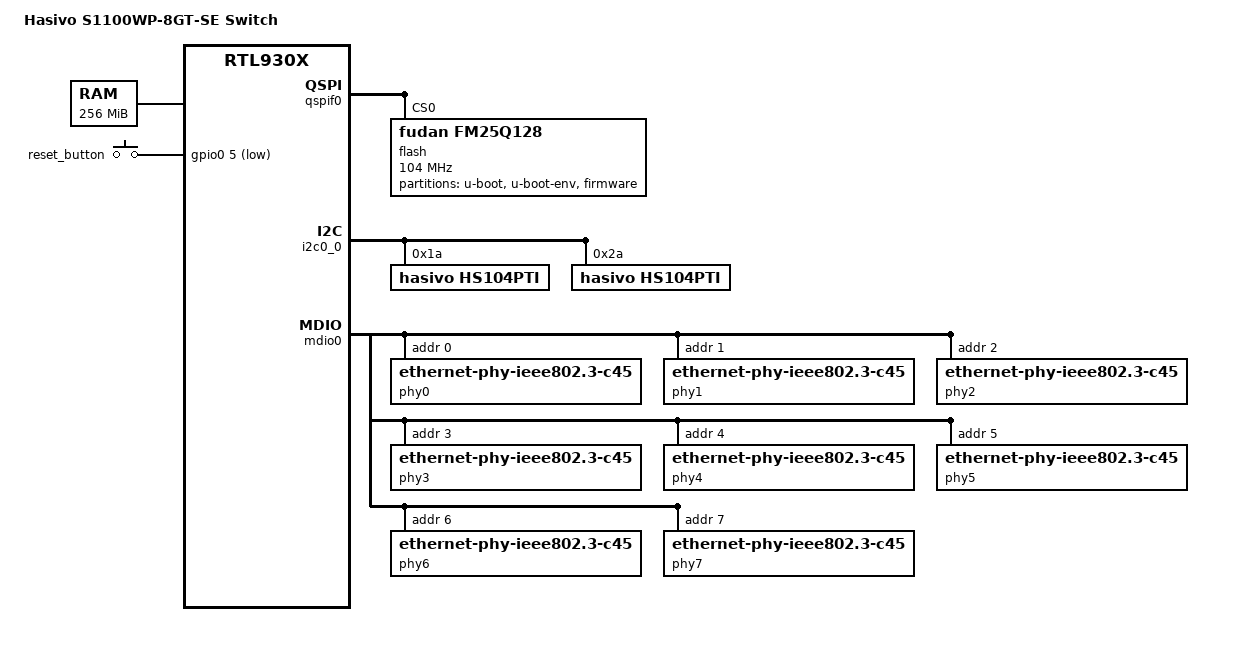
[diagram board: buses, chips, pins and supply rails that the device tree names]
// SPDX-License-Identifier: (GPL-2.0-or-later OR MIT)
/dts-v1/;

#include <dt-bindings/gpio/gpio.h>
#include <dt-bindings/input/input.h>
#include <dt-bindings/leds/common.h>
#include <dt-bindings/leds/leds-realtek.h>

#include "rtl9303.dtsi"

/ {
	compatible = "hasivo,s110pwp-8gt-se", "realtek,rtl9303-soc", "realtek,rtl930x-soc";
	model = "Hasivo S1100WP-8GT-SE Switch";

	led_set {
		compatible = "realtek,rtl9302-leds", "realtek,rtl9300-leds";
		led_set0 = /bits/ 16 <
			/* LED0 */
			(
				RTL93XX_LED_SET_LINK_ACTIVITY |
				RTL93XX_LED_SET_LINK_UP_SOLID |
				RTL93XX_LED_SET_10G_LINK
			)
			/* LED1 */
			(
				RTL93XX_LED_SET_LINK_ACTIVITY |
				RTL93XX_LED_SET_LINK_UP_SOLID |
				RTL93XX_LED_SET_2G5_LINK
			)
			/* LED2 */
			(
				RTL93XX_LED_SET_LINK_ACTIVITY |
				RTL93XX_LED_SET_LINK_UP_SOLID |
				RTL93XX_LED_SET_1000M_LINK |
				RTL93XX_LED_SET_100M_LINK |
				RTL93XX_LED_SET_10M_LINK
			)
		>;
	};

	memory@0 {
		reg = <0x0 0x10000000>; /* 256 MiB */
		device_type = "memory";
	};
};

&qspif0 {
	status = "okay";
	flash: fm25q128@0 {
		compatible = "fudan,fm25q128", "jedec,spi-nor";
		reg = <0>;
		spi-max-frequency = <104000000>;

		partitions: partitions {
			compatible = "fixed-partitions";
			#address-cells = <1>;
			#size-cells = <1>;

			partition@0 {
				reg = <0x0 0xe0000>;
				label = "u-boot";
				read-only;
			};

			partition@e0000 {
				reg = <0xe0000 0x10000>;
				label = "u-boot-env";
			};

			partition@f0000 {
				compatible = "openwrt,uimage", "denx,uimage";
				label = "firmware";
				reg = <0xf0000 0xf10000>;
				openwrt,ih-magic = <0x93030000>;
			};
		};
	};
};

&reset_button {
	gpios = <&gpio0 5 GPIO_ACTIVE_LOW>;

	status = "okay";
};

/*
&spi0 {
	gpioexp: 74hc595@0 {
		compatible = "fairchild,74hc595";
		reg = <0>;
		registers-number = <3>;
		spi-max-frequency = <100000>;
		enable-gpios = <&gpio 10/14 GPIO_ACTIVE_HIGH>;

		gpio-controller;
		#gpio-cells = <2>;
	};
};
*/

&i2c0_0 {
		/* POE controller Port1 - Port4 */
		hs104pti@1a {
			compatible = "hasivo,hs104pti";
			reg = <0x1a>;
		};

		/* POE controller Port5 - Port8 */
		hs104pti@2a {
			compatible = "hasivo,hs104pti";
			reg = <0x2a>;
		};
};

&mdio0 {
	/* 8x RTL8221B PHYs */
	phy0: ethernet-phy@0 {
		reg = <0>;
		compatible = "ethernet-phy-ieee802.3-c45";
		rtl9300,smi-address = <0 0>;
		sds = <2>;
	};

	phy1: ethernet-phy@1 {
		reg = <1>;
		compatible = "ethernet-phy-ieee802.3-c45";
		rtl9300,smi-address = <0 1>;
		sds = <3>;
	};

	phy2: ethernet-phy@2 {
		reg = <2>;
		compatible = "ethernet-phy-ieee802.3-c45";
		rtl9300,smi-address = <0 2>;
		sds = <4>;
	};

	phy3: ethernet-phy@3 {
		reg = <3>;
		compatible = "ethernet-phy-ieee802.3-c45";
		rtl9300,smi-address = <0 3>;
		sds = <5>;
	};

	phy4: ethernet-phy@4 {
		reg = <4>;
		compatible = "ethernet-phy-ieee802.3-c45";
		rtl9300,smi-address = <1 0>;
		sds = <6>;
	};

	phy5: ethernet-phy@5 {
		reg = <5>;
		compatible = "ethernet-phy-ieee802.3-c45";
		rtl9300,smi-address = <1 1>;
		sds = <7>;
	};

	phy6: ethernet-phy@6 {
		reg = <6>;
		compatible = "ethernet-phy-ieee802.3-c45";
		rtl9300,smi-address = <1 2>;
		sds = <8>;
	};

	phy7: ethernet-phy@27 {
		reg = <7>;
		compatible = "ethernet-phy-ieee802.3-c45";
		rtl9300,smi-address = <1 3>;
		sds = <9>;
	};
};

&switch0_ports {
	port@0 {
		reg = <0>;
		label = "lan1";
		phy-handle = <&phy0>;
		phy-mode = "hsgmii";
		led-num = <(
			RTL93XX_LED_NUM0 | /* Orange */
			RTL93XX_LED_NUM1 | /* Lime */
			RTL93XX_LED_NUM2   /* Lime */
		)>;
		led-set = <0>;
	};

	port@8 {
		reg = <8>;
		label = "lan2";
		phy-handle = <&phy1>;
		phy-mode = "hsgmii";
		led-num = <(
			RTL93XX_LED_NUM0 | /* Orange */
			RTL93XX_LED_NUM1 | /* Lime */
			RTL93XX_LED_NUM2   /* Lime */
		)>;
		led-set = <0>;
	};

	port@16 {
		reg = <16>;
		label = "lan3";
		phy-handle = <&phy2>;
		phy-mode = "hsgmii";
		led-num = <(
			RTL93XX_LED_NUM0 | /* Orange */
			RTL93XX_LED_NUM1 | /* Lime */
			RTL93XX_LED_NUM2   /* Lime */
		)>;
		led-set = <0>;
	};

	port@20 {
		reg = <20>;
		label = "lan4";
		phy-handle = <&phy3>;
		phy-mode = "hsgmii";
		led-num = <(
			RTL93XX_LED_NUM0 | /* Orange */
			RTL93XX_LED_NUM1 | /* Lime */
			RTL93XX_LED_NUM2   /* Lime */
		)>;
		led-set = <0>;
	};

	port@24 {
		reg = <24>;
		label = "lan5";
		phy-handle = <&phy4>;
		phy-mode = "hsgmii";
		led-num = <(
			RTL93XX_LED_NUM0 | /* Orange */
			RTL93XX_LED_NUM1 | /* Lime */
			RTL93XX_LED_NUM2   /* Lime */
		)>;
		led-set = <0>;
	};

	port@25 {
		reg = <25>;
		label = "lan6";
		phy-handle = <&phy5>;
		phy-mode = "hsgmii";
		led-num = <(
			RTL93XX_LED_NUM0 | /* Orange */
			RTL93XX_LED_NUM1 | /* Lime */
			RTL93XX_LED_NUM2   /* Lime */
		)>;
		led-set = <0>;
	};

	port@26 {
		reg = <26>;
		label = "lan7";
		phy-handle = <&phy6>;
		phy-mode = "hsgmii";
		led-num = <(
			RTL93XX_LED_NUM0 | /* Orange */
			RTL93XX_LED_NUM1 | /* Lime */
			RTL93XX_LED_NUM2   /* Lime */
		)>;
		led-set = <0>;
	};

	port@27 {
		reg = <27>;
		label = "lan8";
		phy-handle = <&phy7>;
		phy-mode = "hsgmii";
		led-num = <(
			RTL93XX_LED_NUM0 | /* Orange */
			RTL93XX_LED_NUM1 | /* Lime */
			RTL93XX_LED_NUM2   /* Lime */
		)>;
		led-set = <0>;
	};
};
